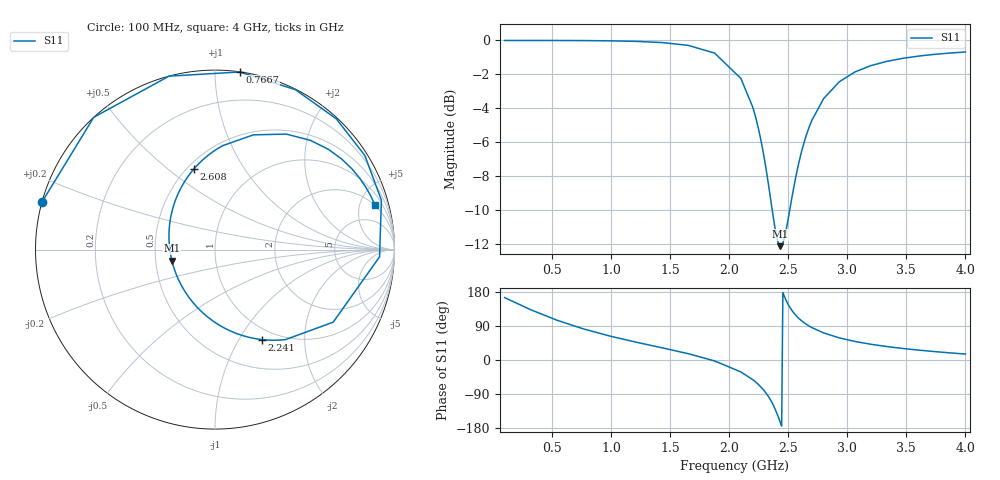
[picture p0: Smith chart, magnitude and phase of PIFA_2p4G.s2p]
# GHz S MA R 50
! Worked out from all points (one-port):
!   70 points, 100 MHz to 4 GHz, reference 50 ohm
!   lowest |S11| = -12.1 dB at 2.435 GHz (marker M1), VSWR 1.66, Z = 30.4 - j3.96 ohm
!   |S11| at or under -10 dB: 2.365 GHz to 2.513 GHz (147.4 MHz wide, 6.04 % of centre)
!   S11 on the Smith chart (normalised r, x): 100 MHz: 0.00, +0.13; 766.7 MHz: 0.00, +1.15; 2.241 GHz: 0.85, -1.25; 2.608 GHz: 0.54, +0.62; 4 GHz: 1.94, +6.72
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0.1  1 164.7
0.3222222  1 132.5
0.5444444  0.9997 104.8
0.7666667  0.9991 82.1
0.9888889  0.9974 63.3
1.211111  0.9939 47.1
1.433333  0.9859 32.1
1.655556  0.967 16.5
1.877778  0.9177 -2.5
2.1  0.7728 -31.5
2.2  0.6369 -51.9
2.240816  0.5643 -62.6
2.291837  0.4623 -79.1
2.332653  0.378 -96.2
2.393878  0.2741 -132.9
2.434694  0.2481 -165.7
2.455102  0.2533 177.6
2.485714  0.2802 155.6
2.546939  0.3688 124.5
2.608163  0.4632 104.9
2.7  0.5814 85.6
2.8  0.6743 71.5
2.933333  0.7561 58.3
3.066667  0.8083 48.8
3.2  0.8432 41.5
3.333333  0.8677 35.6
3.6  0.8991 26.2
4  0.925 15.7
